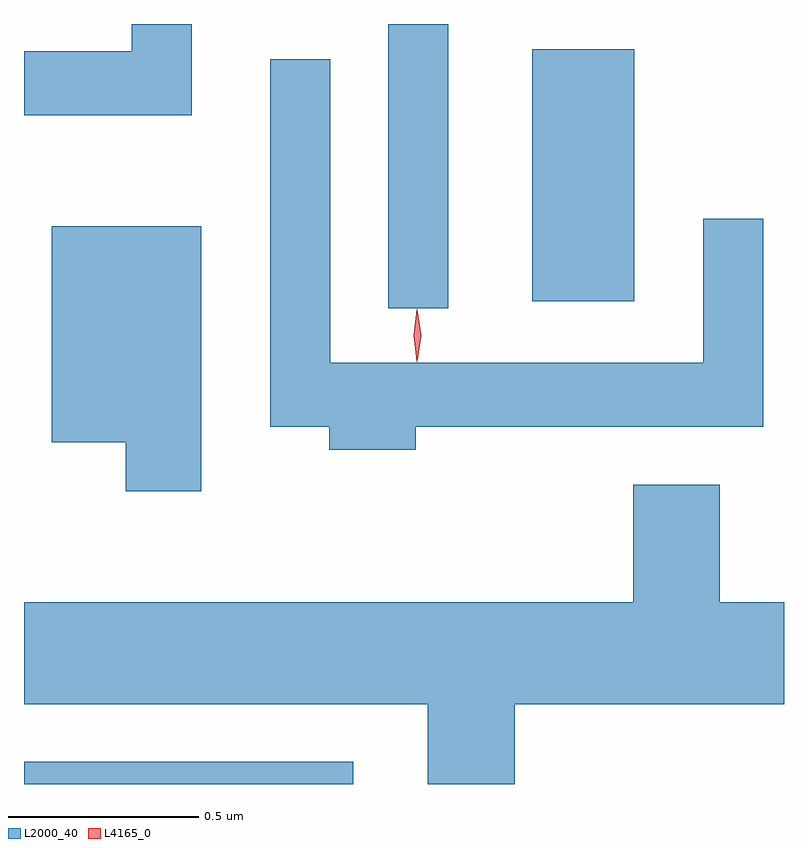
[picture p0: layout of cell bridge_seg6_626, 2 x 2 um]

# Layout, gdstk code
import gdstk
lib = gdstk.Library(unit=1e-6, precision=1e-09)
def R(c, l, rs):  # rectangles x0, y0, x1, y1
    for r in rs: c.add(gdstk.rectangle(r[:2], r[2:], *l))
def P(c, l, *ps):  # polygons
    for p in ps: c.add(gdstk.Polygon(p, *l))
L2000_40 = (2000, 40)
L4165_0 = (4165, 0)

bridge_seg6_626 = lib.new_cell('bridge_seg6_626')
R(bridge_seg6_626, L2000_40, [(488.458,1600.886,489.324,1600.944), (489.416,1602.138,489.574,1602.886), (489.796,1602.156,490.064,1602.819)])
P(bridge_seg6_626, L2000_40, [(488.899,1602.886),(488.741,1602.886),(488.741,1602.814),(488.458,1602.814),(488.458,1602.646),(488.899,1602.646)],
  [(489.489,1601.826),(490.404,1601.826),(490.404,1602.373),(490.246,1602.373),(490.246,1601.994),(489.264,1601.994),(489.264,1602.793),(489.106,1602.793),(489.106,1601.826),(489.261,1601.826),(489.261,1601.766),(489.489,1601.766)],
  [(488.924,1602.354),(488.531,1602.354),(488.531,1601.786),(488.726,1601.786),(488.726,1601.656),(488.924,1601.656)],
  [(489.749,1601.096),(490.458,1601.096),(490.458,1601.364),(490.289,1601.364),(490.289,1601.674),(490.061,1601.674),(490.061,1601.364),(488.458,1601.364),(488.458,1601.096),(489.521,1601.096),(489.521,1600.886),(489.749,1600.886)])
P(bridge_seg6_626, L4165_0, [(489.492,1602),(489.483,1602.066),(489.492,1602.133),(489.493,1602.133),(489.493,1602.133),(489.503,1602.066),(489.493,1602),(489.493,1602)],
  [(489.492,1601.997),(489.483,1602.067),(489.492,1602.136),(489.493,1602.136),(489.493,1602.136),(489.503,1602.067),(489.493,1601.997),(489.493,1601.997)])

lib.write_gds('bridge_seg6_626.gds')
